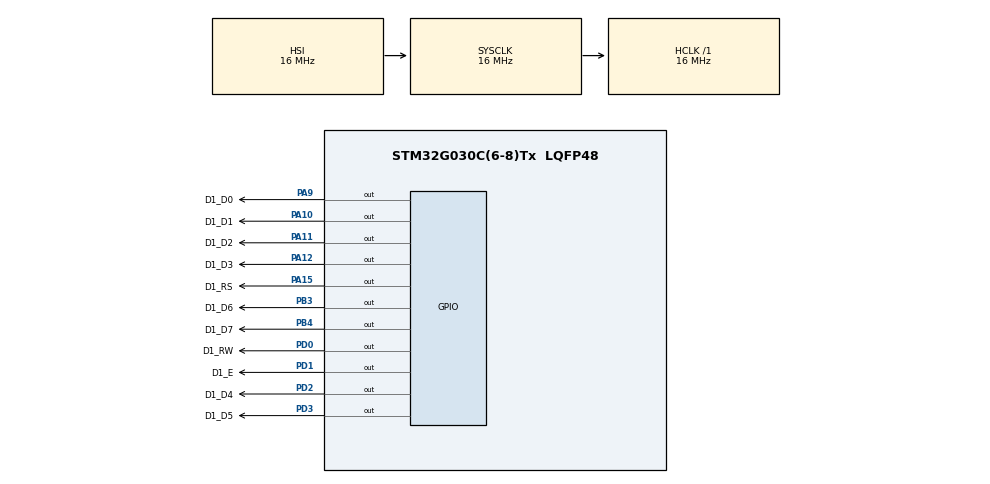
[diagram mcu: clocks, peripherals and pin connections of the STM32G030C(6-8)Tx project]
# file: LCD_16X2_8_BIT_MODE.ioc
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Mcu.Family=STM32G0
Mcu.Name=STM32G030C(6-8)Tx
Mcu.Package=LQFP48
PA10.GPIO_Label=D1_D1
PA10.Signal=GPIO_Output
PA11\ [PA9].GPIO_Label=D1_D2
PA11\ [PA9].Signal=GPIO_Output
PA12\ [PA10].GPIO_Label=D1_D3
PA12\ [PA10].Signal=GPIO_Output
PA13.Mode=Serial_Wire
PA13.Signal=SYS_SWDIO
PA14-BOOT0.Mode=Serial_Wire
PA14-BOOT0.Signal=SYS_SWCLK
PA15.GPIO_Label=D1_RS
PA15.Signal=GPIO_Output
PA9.GPIO_Label=D1_D0
PA9.Signal=GPIO_Output
PB3.GPIO_Label=D1_D6
PB3.Signal=GPIO_Output
PB4.GPIO_Label=D1_D7
PB4.Signal=GPIO_Output
PD0.GPIO_Label=D1_RW
PD0.Signal=GPIO_Output
PD1.GPIO_Label=D1_E
PD1.Signal=GPIO_Output
PD2.GPIO_Label=D1_D4
PD2.Signal=GPIO_Output
PD3.GPIO_Label=D1_D5
PD3.Signal=GPIO_Output
ProjectManager.HeapSize=0x200
ProjectManager.StackSize=0x400
ProjectManager.TargetToolchain=STM32CubeIDE
RCC.AHBFreq_Value=16000000
RCC.CortexFreq_Value=16000000
RCC.EXTERNAL_CLOCK_VALUE=12288000
RCC.HCLKFreq_Value=16000000
RCC.HSE_VALUE=8000000
RCC.HSI_VALUE=16000000
RCC.LSE_VALUE=32768
RCC.SYSCLKFreq_VALUE=16000000
RCC.VCOOutputFreq_Value=128000000
board=custom

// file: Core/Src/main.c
/* USER CODE BEGIN Header */
/**
  ******************************************************************************
  * @file           : main.c
  * @brief          : Main program body
  ******************************************************************************
  * @attention
  *
  * Copyright (c) 2023 STMicroelectronics.
  * All rights reserved.
  *
  * This software is licensed under terms that can be found in the LICENSE file
  * in the root directory of this software component.
  * If no LICENSE file comes with this software, it is provided AS-IS.
  *
  ******************************************************************************
  */
/* USER CODE END Header */
#include "main.h"

/* USER CODE BEGIN Includes */
#include "lcd.h"
/* USER CODE END Includes */

void SystemClock_Config(void);
static void MX_GPIO_Init(void);

int main(void)
{

  /* MCU Configuration--------------------------------------------------------*/

  /* Reset of all peripherals, Initializes the Flash interface and the Systick. */
  HAL_Init();

  /* Configure the system clock */
  SystemClock_Config();

  /* Initialize all configured peripherals */
  MX_GPIO_Init();
  /* USER CODE BEGIN 2 */
  //create the lcd object for 8 bits  and 16x2 mode
  lcd_t lcd_1= lcd_create_8_bit(	D1_RS_GPIO_Port,D1_RW_GPIO_Port,D1_E_GPIO_Port,
		  	  	  	  	  	  	  	  D1_RS_Pin,D1_RW_Pin,D1_E_Pin,
									D1_D7_GPIO_Port,D1_D6_GPIO_Port,D1_D5_GPIO_Port,D1_D4_GPIO_Port,
									D1_D3_GPIO_Port,D1_D2_GPIO_Port,D1_D1_GPIO_Port,D1_D0_GPIO_Port,
									D1_D7_Pin, D1_D6_Pin,D1_D5_Pin,D1_D4_Pin,
									D1_D3_Pin,D1_D2_Pin,D1_D1_Pin,D1_D0_Pin,
									lcd_chr_16x2_mode);
  lcd_clear(&lcd_1);//clear display
  lcd_set_cursor(&lcd_1, 0, 0);
  lcd_print_string(&lcd_1, "TEST 1");
  lcd_set_cursor(&lcd_1, 1, 0);
  lcd_print_string(&lcd_1, "8 bit mode 16x2");
  uint8_t counter=0;//var to show counter in lcd
  char buffer [16];
  HAL_Delay(1500);
  lcd_clear(&lcd_1);//clear lcd
  /* USER CODE END 2 */

  /* Infinite loop */
  while (1)
  {

    /* USER CODE BEGIN 3 */

	  sprintf(buffer,"%3d",counter);
	  lcd_set_cursor(&lcd_1, 0, 0);
	  lcd_print_string(&lcd_1, "Counter:");
	  lcd_set_cursor(&lcd_1, 0, 9);
	  lcd_print_string(&lcd_1,buffer );
	 counter++;
	 HAL_Delay(1000);

  }
  /* USER CODE END 3 */
}

void SystemClock_Config(void)
{
  RCC_OscInitTypeDef RCC_OscInitStruct = {0};
  RCC_ClkInitTypeDef RCC_ClkInitStruct = {0};

  /** Configure the main internal regulator output voltage
  */
  HAL_PWREx_ControlVoltageScaling(PWR_REGULATOR_VOLTAGE_SCALE1);

  /** Initializes the RCC Oscillators according to the specified parameters
  * in the RCC_OscInitTypeDef structure.
  */
  RCC_OscInitStruct.OscillatorType = RCC_OSCILLATORTYPE_HSI;
  RCC_OscInitStruct.HSIState = RCC_HSI_ON;
  RCC_OscInitStruct.HSIDiv = RCC_HSI_DIV1;
  RCC_OscInitStruct.HSICalibrationValue = RCC_HSICALIBRATION_DEFAULT;
  RCC_OscInitStruct.PLL.PLLState = RCC_PLL_NONE;
  if (HAL_RCC_OscConfig(&RCC_OscInitStruct) != HAL_OK)
  {
    Error_Handler();
  }

  /** Initializes the CPU, AHB and APB buses clocks
  */
  RCC_ClkInitStruct.ClockType = RCC_CLOCKTYPE_HCLK|RCC_CLOCKTYPE_SYSCLK
                              |RCC_CLOCKTYPE_PCLK1;
  RCC_ClkInitStruct.SYSCLKSource = RCC_SYSCLKSOURCE_HSI;
  RCC_ClkInitStruct.AHBCLKDivider = RCC_SYSCLK_DIV1;
  RCC_ClkInitStruct.APB1CLKDivider = RCC_HCLK_DIV1;

  if (HAL_RCC_ClockConfig(&RCC_ClkInitStruct, FLASH_LATENCY_0) != HAL_OK)
  {
    Error_Handler();
  }
}

static void MX_GPIO_Init(void)
{
  GPIO_InitTypeDef GPIO_InitStruct = {0};

  /* GPIO Ports Clock Enable */
  __HAL_RCC_GPIOA_CLK_ENABLE();
  __HAL_RCC_GPIOD_CLK_ENABLE();
  __HAL_RCC_GPIOB_CLK_ENABLE();

  /*Configure GPIO pin Output Level */
  HAL_GPIO_WritePin(GPIOA, D1_D0_Pin|D1_D1_Pin|D1_D2_Pin|D1_D3_Pin
                          |D1_RS_Pin, GPIO_PIN_RESET);

  /*Configure GPIO pin Output Level */
  HAL_GPIO_WritePin(GPIOD, D1_RW_Pin|D1_E_Pin|D1_D4_Pin|D1_D5_Pin, GPIO_PIN_RESET);

  /*Configure GPIO pin Output Level */
  HAL_GPIO_WritePin(GPIOB, D1_D6_Pin|D1_D7_Pin, GPIO_PIN_RESET);

  /*Configure GPIO pins : D1_D0_Pin D1_D1_Pin D1_D2_Pin D1_D3_Pin
                           D1_RS_Pin */
  GPIO_InitStruct.Pin = D1_D0_Pin|D1_D1_Pin|D1_D2_Pin|D1_D3_Pin
                          |D1_RS_Pin;
  GPIO_InitStruct.Mode = GPIO_MODE_OUTPUT_PP;
  GPIO_InitStruct.Pull = GPIO_NOPULL;
  GPIO_InitStruct.Speed = GPIO_SPEED_FREQ_LOW;
  HAL_GPIO_Init(GPIOA, &GPIO_InitStruct);

  /*Configure GPIO pins : D1_RW_Pin D1_E_Pin D1_D4_Pin D1_D5_Pin */
  GPIO_InitStruct.Pin = D1_RW_Pin|D1_E_Pin|D1_D4_Pin|D1_D5_Pin;
  GPIO_InitStruct.Mode = GPIO_MODE_OUTPUT_PP;
  GPIO_InitStruct.Pull = GPIO_NOPULL;
  GPIO_InitStruct.Speed = GPIO_SPEED_FREQ_LOW;
  HAL_GPIO_Init(GPIOD, &GPIO_InitStruct);

  /*Configure GPIO pins : D1_D6_Pin D1_D7_Pin */
  GPIO_InitStruct.Pin = D1_D6_Pin|D1_D7_Pin;
  GPIO_InitStruct.Mode = GPIO_MODE_OUTPUT_PP;
  GPIO_InitStruct.Pull = GPIO_NOPULL;
  GPIO_InitStruct.Speed = GPIO_SPEED_FREQ_LOW;
  HAL_GPIO_Init(GPIOB, &GPIO_InitStruct);

}

void Error_Handler(void)
{
  __disable_irq();
  while (1)
  {
  }
}
